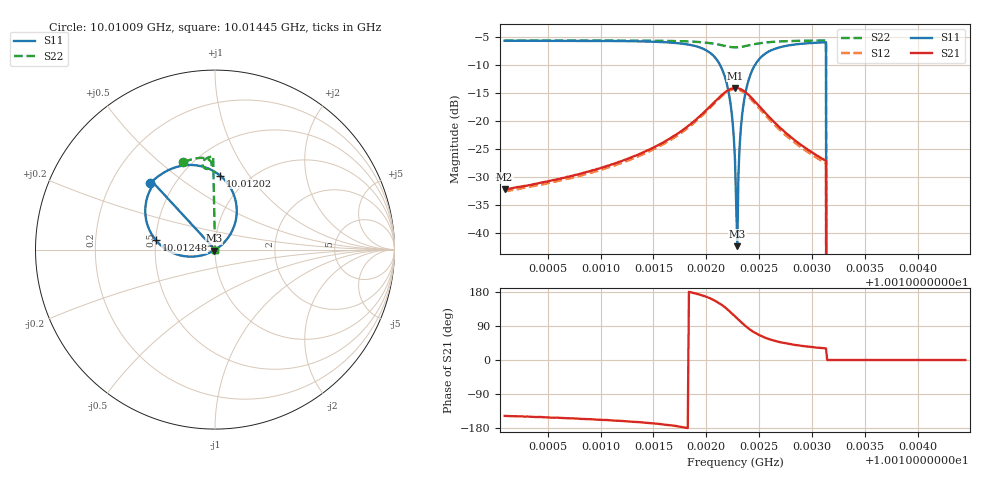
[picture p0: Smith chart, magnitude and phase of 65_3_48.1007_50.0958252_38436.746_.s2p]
#  HZ  S  RI  R  50.00
! Rohde & Schwarz Vector Network Analyzer
! Rohde-Schwarz,ZNB20-2Port,1311601062101988,3.16
! Created: UTC 12/23/2023, 3:41:11 AM
! freq[Hz]  re:S11  im:S11  re:S21  im:S21  re:S12  im:S12  re:S22  im:S22
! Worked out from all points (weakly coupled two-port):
!   401 points, 10.01009 GHz to 10.01445 GHz, reference 50 ohm
!   highest |S21| = -14.15 dB at 10.01227 GHz (marker M1); lowest = -32.3 dB at 10.01009 GHz (marker M2)
!   lowest |S11| = -42.4 dB at 10.01229 GHz (marker M3), VSWR 1.02, Z = 49.4 - j0.504 ohm
!   |S11| at or under -10 dB: 10.01213 GHz to 10.01246 GHz (333.7 kHz wide, 0.00333 % of centre); 10.01313 GHz to end of sweep
!   |S22| runs from - to -5.7 dB; largest |S21 - S12| = 0.0089
!   S11 on the Smith chart (normalised r, x): 10.01009 GHz: 0.37, +0.37; 10.01202 GHz: 0.75, +0.74; 10.01248 GHz: 0.50, +0.06; 10.01445 GHz: 1.00, +0.00
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1.0010092e10  -0.3598 0.3709  -0.0206 -0.0131  -0.0191 -0.0137  -0.1756 0.4883
1.0010822e10  -0.3037 0.417  -0.0309 -0.014  -0.0289 -0.0149  -0.1282 0.5033
1.0011553e10  -0.1945 0.4651  -0.0598 -0.0119  -0.0571 -0.0145  -0.0731 0.5111
1.0012021e10  0.0288 0.412  -0.1252 0.0344  -0.1233 0.0275  -0.0254 0.4934
1.001213e10  0.1084 0.2953  -0.1397 0.0862  -0.1404 0.0777  -0.0187 0.4746
1.0012195e10  0.118 0.1749  -0.1298 0.1309  -0.1323 0.1229  -0.023 0.4601
1.0012239e10  0.0852 0.0848  -0.1074 0.161  -0.1114 0.1532  -0.0314 0.4522
1.001225e10  0.0712 0.0639  -0.0999 0.1673  -0.1042 0.1598  -0.0341 0.4509
1.0012272e10  0.0364 0.0256  -0.083 0.1777  -0.0876 0.1705  -0.0398 0.4493
1.0012294e10  -0.00564 -0.0051  -0.0645 0.1847  -0.069 0.1779  -0.0458 0.4492
1.0012304e10  -0.0289 -0.017  -0.055 0.1867  -0.0589 0.1803  -0.049 0.4497
1.0012326e10  -0.0769 -0.0331  -0.0357 0.1879  -0.0395 0.1816  -0.0546 0.4517
1.0012337e10  -0.1013 -0.0374  -0.0263 0.187  -0.0301 0.1808  -0.0572 0.4532
1.0012359e10  -0.149 -0.039  -0.00819 0.1831  -0.0128 0.1771  -0.0616 0.4568
1.0012413e10  -0.251 -0.0108  0.0278 0.1631  0.0221 0.1576  -0.068 0.4682
1.0012479e10  -0.3298 0.0527  0.0507 0.1328  0.0445 0.1287  -0.0682 0.4816
1.0012653e10  -0.3884 0.2049  0.0606 0.0734  0.0551 0.0718  -0.054 0.5039
1.0013002e10  -0.3559 0.3427  0.0431 0.0293  0.0397 0.0297  -0.0211 0.5178
1.0013111e10  -0.3426 0.3646  0.0386 0.0234  0.0355 0.024  -0.012 0.5195
1.0013165e10  0 0  0 0  0 0  0 0
1.0013732e10  0 0  0 0  0 0  0 0
1.0014451e10  0 0  0 0  0 0  0 0
